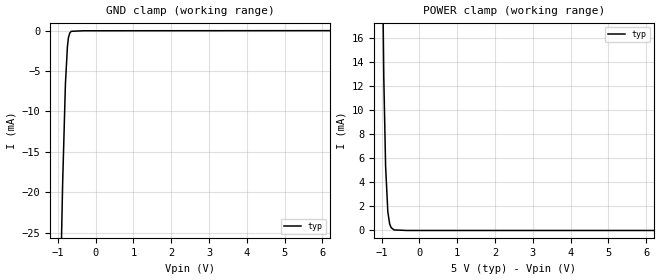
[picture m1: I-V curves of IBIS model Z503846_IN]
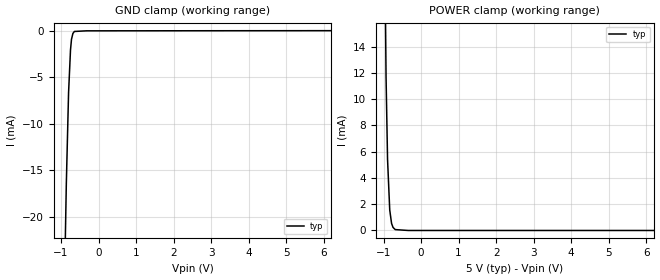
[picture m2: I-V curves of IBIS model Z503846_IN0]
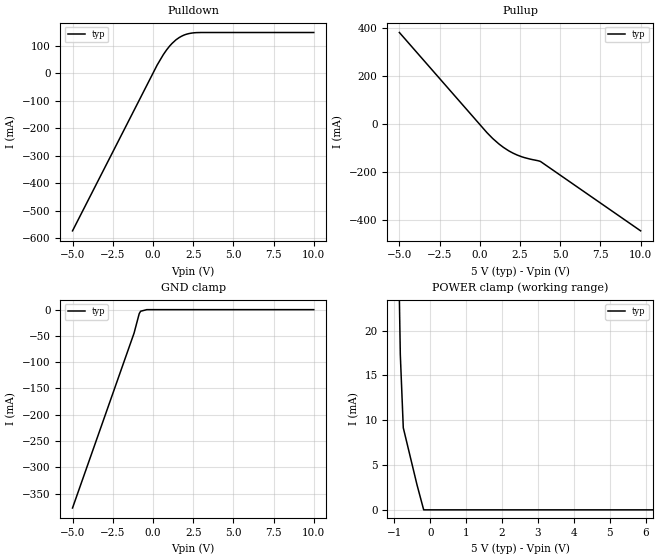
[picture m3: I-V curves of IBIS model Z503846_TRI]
| YOU ARE ONLY AUTHORIZED TO USE THIS SOFTWARE
| ACCORDING TO LICENSOR'S LICENSE RESTRICTIONS.
[IBIS Ver] 3.1
[File Name] mc74act244n.ibs
[File Rev] 2.0
[Source] Measured and created by ICX Technology
[Date] Friday 7/14/00 9:08:01 AM
[Copyright]
| (C) COPYRIGHT 1993-2000
| MENTOR GRAPHICS CORPORATION
| ICX STANDARD LIBRARY, ICX PROJECT MODELING,
| ICX CUSTOM MODELING, ICX VENDOR MODEL
| ALL RIGHTS RESERVED.
| THE FOLLOWING ARE TRADEMARKS OR SERVICE MARKS OF
| MENTOR GRAPHICS CORPORATION:ICX (R), ICX STANDARD
| LIBRARY(R), ICX PROJECT MODELING(R), ICX CUSTOM
| MODELING(R), qualityIBIS(TM), MODELVIEWER(TM),
| AND MODELEDITOR(TM)
| ALL COPIES OF SOFTWARE, INCLUDING BUT NOT LIMITED TO
| ANY MODIFICATIONS, ENHANCEMENTS OR DERIVATIVE WORKS,
| MUST CONTAIN ALL MENTOR GRAPHICS CORPORATION'S
| NOTICES AND LEGENDS, INCLUDING THOSE EMBEDDED IN
| SOFTWARE AND THOSE AFFIXED TO SOFTWARE MEDIUM
| AND CONTAINER, AS RECEIVED FROM MENTOR GRAPHICS
| CORPORATION.
|  ZAP Model Builder 2.7
[Component] MC74ACT244N
[Manufacturer] OnSemiconductor
[Package]
| variable   typ   min   max
R_pkg  .216ohms NA NA
L_pkg  5.76nH NA NA
C_pkg  1.29pF NA NA
[Pin] signal_name  model_name  R_pin  L_pin C_pin
1 _G Z503846_IN0 .232 9.76n 1.87p
2 A0 Z503846_IN .224 7.26n 1.58p
3 Y3 Z503846_TRI .216 5.26n 1.29p
4 A1 Z503846_IN .208 3.76n 1.0p
5 Y2 Z503846_TRI .2 2.76n .71p
6 A2 Z503846_IN .2 2.76n .71p
7 Y1 Z503846_TRI .208 3.76n 1.0p
8 A3 Z503846_IN .216 5.26n 1.29p
9 Y0 Z503846_TRI .224 7.26n 1.58p
10 GND GND .232 9.76n 1.87p
11 A0 Z503846_IN .232 9.76n 1.87p
12 Y3 Z503846_TRI0 .224 7.26n 1.58p
13 A1 Z503846_IN .216 5.26n 1.29p
14 Y2 Z503846_TRI0 .208 3.76n 1.0p
15 A2 Z503846_IN .2 2.76n .71p
16 Y1 Z503846_TRI0 .2 2.76n .71p
17 A3 Z503846_IN .208 3.76n 1.0p
18 Y0 Z503846_TRI0 .216 5.26n 1.29p
19 _G Z503846_IN0 .224 7.26n 1.58p
20 VCC POWER .232 9.76n 1.87p
| Models and submodels in the file (4): Z503846_IN (Input), Z503846_IN0 (Input), Z503846_TRI (3-state), Z503846_TRI0 (3-state)
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| (C) COPYRIGHT 1993-2000
| MENTOR GRAPHICS CORPORATION
| ICX STANDARD LIBRARY, ICX PROJECT MODELING,
| ICX CUSTOM MODELING, ICX VENDOR MODEL
| ALL RIGHTS RESERVED.
| THE FOLLOWING ARE TRADEMARKS OR SERVICE MARKS OF
| MENTOR GRAPHICS CORPORATION:ICX (R), ICX STANDARD
| LIBRARY(R), ICX PROJECT MODELING(R), ICX CUSTOM
| MODELING(R), qualityIBIS(TM), MODELVIEWER(TM),
| AND MODELEDITOR(TM)
| ALL COPIES OF SOFTWARE, INCLUDING BUT NOT LIMITED TO
| ANY MODIFICATIONS, ENHANCEMENTS OR DERIVATIVE WORKS,
| MUST CONTAIN ALL MENTOR GRAPHICS CORPORATION'S
| NOTICES AND LEGENDS, INCLUDING THOSE EMBEDDED IN
| SOFTWARE AND THOSE AFFIXED TO SOFTWARE MEDIUM
| AND CONTAINER, AS RECEIVED FROM MENTOR GRAPHICS
| CORPORATION.
| Model Application Version 1.89 2/18/99.
[Model] Z503846_IN
Model_type Input
Vinl = 800.0mV
Vinh = 2.000V
C_comp 4.000pF NA NA
| variable typ   min   max
[Voltage Range] 5.000V NA NA
[GND Clamp Reference] 0.000V NA NA
[POWER Clamp Reference] 5.000V NA NA
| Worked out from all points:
|   GND clamp passes 1 mA (typ) near -0.72 V on its own axis
|   POWER clamp passes 1 mA (typ) near -0.81 V on its own axis
[GND Clamp]
-5V       -951.7mA   NA         NA
-873.5mV  -19.03mA   NA         NA
-799.5mV  -6.613mA   NA         NA
-747.4mV  -2.044mA   NA         NA
-721.7mV  -911.5uA   NA         NA
-683.6mV  -294.5uA   NA         NA
-644.5mV  -81.74uA   NA         NA
-322.3mV  -13.97uA   NA         NA
10V       8.996uA    NA         NA
[POWER Clamp]
-5V       1.144A     NA         NA
-942mV    12.75mA    NA         NA
-894mV    5.34mA     NA         NA
-835mV    1.553mA    NA         NA
-786mV    536.4uA    NA         NA
-747mV    233.5uA    NA         NA
-669mV    46.47uA    NA         NA
-334.5mV  0A         NA         NA
10V       0A         NA         NA
| (C) COPYRIGHT 1993-2000
| MENTOR GRAPHICS CORPORATION
| ICX STANDARD LIBRARY, ICX PROJECT MODELING,
| ICX CUSTOM MODELING, ICX VENDOR MODEL
| ALL RIGHTS RESERVED.
| THE FOLLOWING ARE TRADEMARKS OR SERVICE MARKS OF
| MENTOR GRAPHICS CORPORATION:ICX (R), ICX STANDARD
| LIBRARY(R), ICX PROJECT MODELING(R), ICX CUSTOM
| MODELING(R), qualityIBIS(TM), MODELVIEWER(TM),
| AND MODELEDITOR(TM)
| ALL COPIES OF SOFTWARE, INCLUDING BUT NOT LIMITED TO
| ANY MODIFICATIONS, ENHANCEMENTS OR DERIVATIVE WORKS,
| MUST CONTAIN ALL MENTOR GRAPHICS CORPORATION'S
| NOTICES AND LEGENDS, INCLUDING THOSE EMBEDDED IN
| SOFTWARE AND THOSE AFFIXED TO SOFTWARE MEDIUM
| AND CONTAINER, AS RECEIVED FROM MENTOR GRAPHICS
| CORPORATION.
| Model Application Version 1.89 2/18/99.
[Model] Z503846_IN0
Model_type Input
Vinl = 800.0mV
Vinh = 2.000V
C_comp 4.000pF NA NA
| variable typ   min   max
[Voltage Range] 5.000V NA NA
[GND Clamp Reference] 0.000V NA NA
[POWER Clamp Reference] 5.000V NA NA
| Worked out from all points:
|   GND clamp passes 1 mA (typ) near -0.72 V on its own axis
|   POWER clamp passes 1 mA (typ) near -0.81 V on its own axis
[GND Clamp]
-5V       -943.5mA   NA         NA
-859.4mV  -16.54mA   NA         NA
-799mV    -6.653mA   NA         NA
-747.5mV  -2.058mA   NA         NA
-721mV    -920.2uA   NA         NA
-683.6mV  -296.7uA   NA         NA
-644.6mV  -83.11uA   NA         NA
-322.3mV  -14.07uA   NA         NA
10V       12.87uA    NA         NA
[POWER Clamp]
-5V       1.257A     NA         NA
-933mV    11.71mA    NA         NA
-893mV    5.422mA    NA         NA
-835mV    1.564mA    NA         NA
-786mV    538.2uA    NA         NA
-747mV    234.2uA    NA         NA
-688mV    67.59uA    NA         NA
-344mV    0A         NA         NA
10V       0A         NA         NA
| (C) COPYRIGHT 1993-2000
| MENTOR GRAPHICS CORPORATION
| ICX STANDARD LIBRARY, ICX PROJECT MODELING,
| ICX CUSTOM MODELING, ICX VENDOR MODEL
| ALL RIGHTS RESERVED.
| THE FOLLOWING ARE TRADEMARKS OR SERVICE MARKS OF
| MENTOR GRAPHICS CORPORATION:ICX (R), ICX STANDARD
| LIBRARY(R), ICX PROJECT MODELING(R), ICX CUSTOM
| MODELING(R), qualityIBIS(TM), MODELVIEWER(TM),
| AND MODELEDITOR(TM)
| ALL COPIES OF SOFTWARE, INCLUDING BUT NOT LIMITED TO
| ANY MODIFICATIONS, ENHANCEMENTS OR DERIVATIVE WORKS,
| MUST CONTAIN ALL MENTOR GRAPHICS CORPORATION'S
| NOTICES AND LEGENDS, INCLUDING THOSE EMBEDDED IN
| SOFTWARE AND THOSE AFFIXED TO SOFTWARE MEDIUM
| AND CONTAINER, AS RECEIVED FROM MENTOR GRAPHICS
| CORPORATION.
| Model Application Version 1.89 2/18/99.
[Model] Z503846_TRI
Model_type 3-state
Vref=0.000V
Rref=500.0ohms
Cref=50.00pF
Vmeas=1.500V
C_comp 8.000pF NA NA
| variable typ   min   max
[Voltage Range] 5.000V NA NA
[POWER Clamp Reference] 5.000V NA NA
[Pullup Reference] 5.000V NA NA
[Pulldown Reference] 0.000V NA NA
[GND Clamp Reference] 0.000V NA NA
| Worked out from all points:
|   slope of the pulldown table from 0 to 0.75 V, typ, clamps not added: 9.75 ohm
|   slope of the pullup table from 0 to 0.75 V, typ, clamps not added: 13.7 ohm
|   POWER clamp passes 1 mA (typ) near -0.25 V on its own axis
[GND Clamp]
-5V       -377.5mA   NA         NA
-1.172V   -44.58mA   NA         NA
-852.2mV  -7.589mA   NA         NA
-765.6mV  -3.03mA    NA         NA
-382.8mV  0A         NA         NA
10V       0A         NA         NA
[Pulldown]
-5V       -573.4mA   NA         NA
264.7mV   30.9mA     NA         NA
848.5mV   85.81mA    NA         NA
1.186V    109.3mA    NA         NA
1.432V    122.6mA    NA         NA
2.054V    142.5mA    NA         NA
2.69V     148.8mA    NA         NA
10V       149.3mA    NA         NA
[Pullup]
-5V       381mA      NA         NA
444mV     -35.02mA   NA         NA
1.194V    -82.32mA   NA         NA
1.806V    -110.9mA   NA         NA
2.315V    -127.9mA   NA         NA
3.775V    -154.9mA   NA         NA
10V       -443.1mA   NA         NA
[POWER Clamp]
-5V       1.013A     NA         NA
-838mV    17.34mA    NA         NA
-755mV    9.157mA    NA         NA
-372mV    2.785mA    NA         NA
-186mV    0A         NA         NA
10V       0A         NA         NA
[Ramp]
| variable typ min max
dV/dt_r 2.934/855.7p NA NA
dV/dt_f 2.934/430.0p NA NA
R_load = 500.0Ohms
